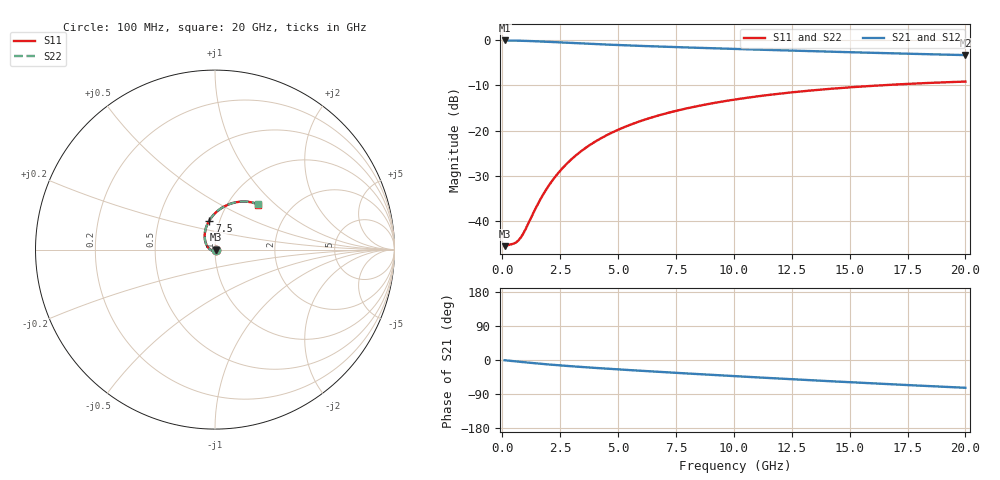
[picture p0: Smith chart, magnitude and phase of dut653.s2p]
! Touchstone file exported from HFSS 2024.1.0
!  File:  C:/UserFiles/LocalFiles/RDL_TSV_Batchsim/temp_RDL_TSV_653_1779809820.aedt
!  Generated:  11:54:14 PM May 26, 2026
!  Design:  RDL_TSV
!  Project:  temp_RDL_TSV_653_1779809820
!  Setup:  Setup1
!  Solution:  Sweep
! Variables:
!  dtsv = 6.57um
!  hbump = 3um
!  htsv = 52.18um
!  ldown = 156.22um
!  lrdl = 100.85um
!  p = 40
!  p1 = 40.82um
!  rhole = 10um
!  subl = 872.06um
!  t = 450um
!  tdown = 3.16um
!  trdl = 4.45um
!  viad = 10um
!  wdown = 28.93um
!  wrdl = 16.11um
!  xbump = 18um
# GHz S MA R 50.000000
! Terminal data exported
! Port[1] = TM1_1_T1
! Port[2] = TM1_4_T1
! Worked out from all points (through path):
!   200 points, 100 MHz to 20 GHz, reference 50 ohm
!   highest |S21| = -0.05 dB at 100 MHz (marker M1); lowest = -3.3 dB at 20 GHz (marker M2)
!   group delay of S21, straight-line fit = 9.69 ps
!   lowest |S11| = -45.6 dB at 100 MHz (marker M3), VSWR 1.01, Z = 50.5 - j0.0728 ohm
!   |S11| at or under -10 dB: start of sweep to 16.31 GHz
!   |S22| runs from -45.6 to -9.2 dB; largest |S21 - S12| = 1.2e-14
!   S11 on the Smith chart (normalised r, x): 100 MHz: 1.01, -0.00; 7.5 GHz: 0.89, +0.30; 20 GHz: 1.38, +0.79
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0.1  0.005237 -7.9  0.9946 -0.7  0.9946 -0.7  0.005237 -7.9
! Gamma 0 0 0 0
! Port Impedance 50 0 50 0
0.5  0.005604 -51.3  0.9914 -3.2  0.9914 -3.2  0.005603 -51.3
0.7  0.006075 -77.6  0.9888 -4.4  0.9888 -4.4  0.006074 -77.6
0.9  0.007183 -103.0  0.9857 -5.6  0.9857 -5.6  0.007184 -103.0
1.4  0.01311 -148.0  0.9754 -8.5  0.9754 -8.5  0.01311 -148.0
1.7  0.01832 -164.6  0.9681 -10.2  0.9681 -10.2  0.01833 -164.6
2.1  0.02656 179.4  0.9576 -12.3  0.9576 -12.3  0.02658 179.3
2.4  0.03345 170.0  0.9493 -13.8  0.9493 -13.8  0.03347 170.0
2.7  0.04077 162.1  0.9411 -15.2  0.9411 -15.2  0.04079 162.1
3.1  0.051 153.2  0.9303 -17.0  0.9303 -17.0  0.05102 153.2
3.5  0.06156 145.6  0.9199 -18.7  0.9199 -18.7  0.06159 145.6
4.2  0.08041 134.5  0.9028 -21.6  0.9028 -21.6  0.08045 134.5
4.9  0.09925 125.4  0.8872 -24.4  0.8872 -24.4  0.0993 125.4
5.8  0.1229 115.6  0.8692 -27.7  0.8692 -27.7  0.123 115.6
6.8  0.1482 106.6  0.8511 -31.4  0.8511 -31.4  0.1483 106.6
7.5  0.1651 101.1  0.8395 -33.9  0.8395 -33.9  0.1652 101.1
8.7  0.1924 92.8  0.8207 -38.1  0.8207 -38.1  0.1925 92.8
10.1  0.2215 84.6  0.8003 -42.8  0.8003 -42.8  0.2217 84.6
11.7  0.2512 76.4  0.7783 -48.1  0.7783 -48.1  0.2514 76.4
13.4  0.2787 68.8  0.7564 -53.6  0.7564 -53.6  0.2788 68.9
16.7  0.3204 56.4  0.7178 -63.7  0.7178 -63.7  0.3206 56.5
20  0.3484 46.1  0.6847 -73.3  0.6847 -73.3  0.3487 46.2
